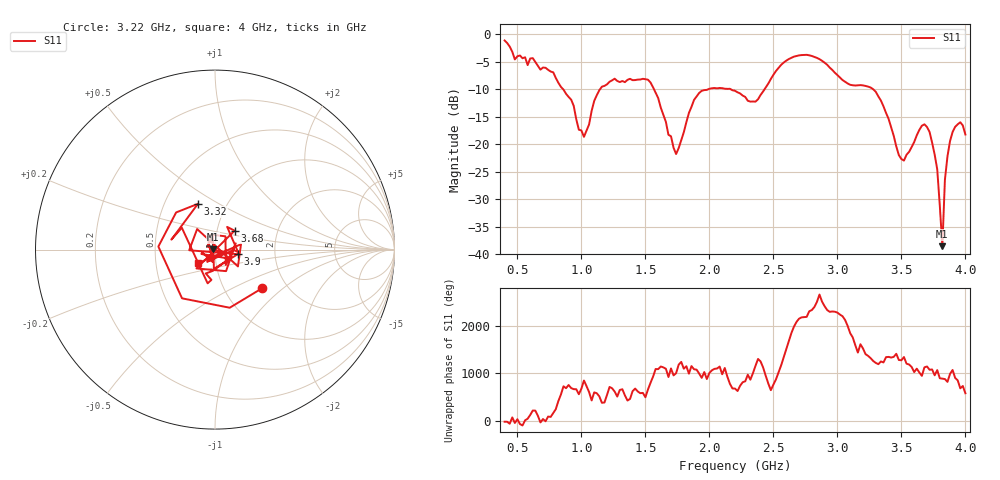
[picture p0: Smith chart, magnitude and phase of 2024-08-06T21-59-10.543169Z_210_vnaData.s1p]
!Created with skrf (http://scikit-rf.org).
# Hz S RI R 50.0
!freq ReS11 ImS11
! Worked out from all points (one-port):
!   181 points, 400 MHz to 4 GHz, reference 50 ohm
!   lowest |S11| = -38.5 dB at 3.82 GHz (marker M1), VSWR 1.02, Z = 48.9 + j0.251 ohm
!   |S11| at or under -10 dB: 857.3 MHz to 1.146 GHz (288.3 MHz wide, 28.8 % of centre); 1.567 GHz to 1.991 GHz (424.4 MHz wide, 23.9 % of centre); 3.28 GHz to end of sweep (the widest 3 of 4)
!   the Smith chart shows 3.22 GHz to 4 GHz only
!   S11 on the Smith chart (normalised r, x): 3.22 GHz: 1.49, -0.73; 3.32 GHz: 0.73, +0.40; 3.68 GHz: 1.21, +0.26; 3.9 GHz: 1.29, -0.07; 4 GHz: 0.82, -0.13
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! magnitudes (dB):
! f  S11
! 400 MHz  -1.1
! 480 MHz  -4.6
! 620 MHz  -4.3
! 860 MHz  -10.1
! 1.02 GHz  -18.7
! 1.14 GHz  -10.2
! 1.3 GHz  -8.7
! 1.54 GHz  -8.8
! 1.74 GHz  -21.8
! 1.76 GHz  -20.7
! 1.92 GHz  -10.7
! 2.2 GHz  -10.3
! 2.36 GHz  -12.3
! 2.66 GHz  -4.1
! 2.86 GHz  -4.5
! 3.1 GHz  -9.2
! 3.22 GHz  -9.4
! 3.32 GHz  -11.3
! 3.48 GHz  -22.0
! 3.56 GHz  -21.4
! 3.68 GHz  -16.4
! 3.72 GHz  -17.8
! 3.78 GHz  -24.6
! 3.82 GHz  -38.5
! 3.84 GHz  -26.5
! 3.9 GHz  -17.8
! 3.96 GHz  -16.0
! 4 GHz  -18.2
